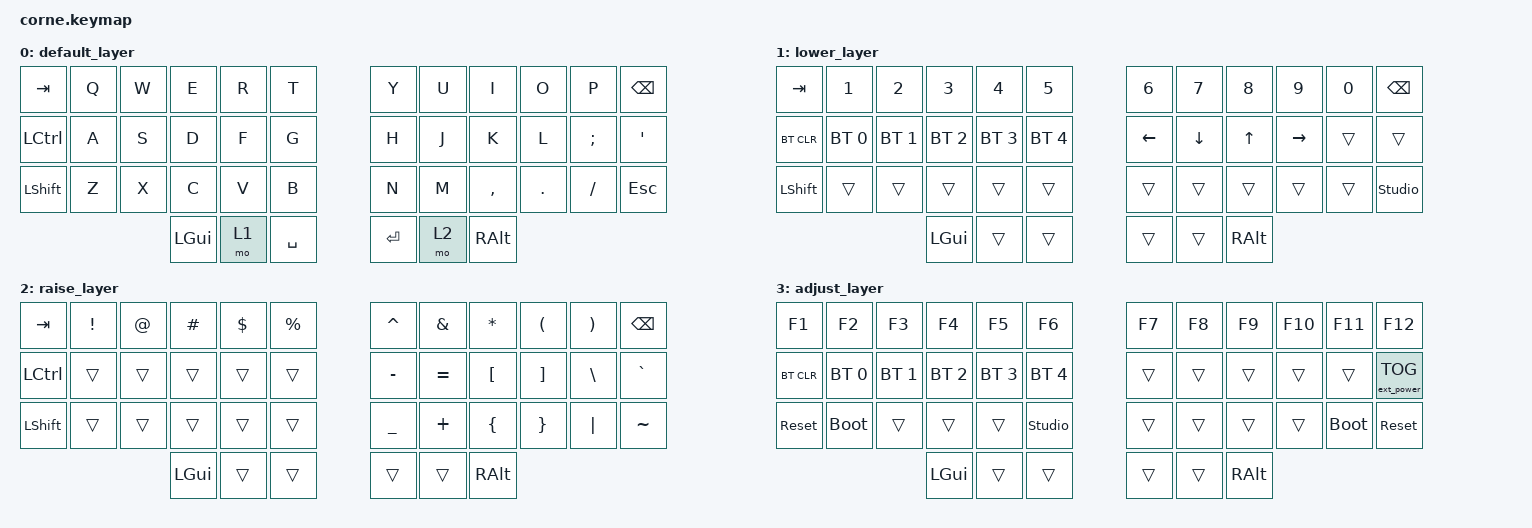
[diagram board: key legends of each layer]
/*
 * Copyright (c) 2020 The ZMK Contributors
 *
 * SPDX-License-Identifier: MIT
 */

#include <behaviors.dtsi>
#include <dt-bindings/zmk/keys.h>
#include <dt-bindings/zmk/bt.h>
#include <dt-bindings/zmk/ext_power.h>

/ {
        conditional_layers {
                compatible = "zmk,conditional-layers";
                tri_layer {
                        if-layers = <1 2>;
                        then-layer = <3>;
                };
        };

        combos {
                compatible = "zmk,combos";
                combo_studio_unlock {
                        timeout-ms = <50>;
                        key-positions = <37 40>; // Touches thumb LWR (37) et RSE (40)
                        bindings = <&studio_unlock>;
                };
        };

        keymap {
                compatible = "zmk,keymap";

                default_layer {
// -----------------------------------------------------------------------------------------
// |  TAB |  Q  |  W  |  E  |  R  |  T  |   |  Y  |  U   |  I  |  O  |  P  | BSPC |
// | CTRL |  A  |  S  |  D  |  F  |  G  |   |  H  |  J   |  K  |  L  |  ;  |  '   |
// | SHFT |  Z  |  X  |  C  |  V  |  B  |   |  N  |  M   |  ,  |  .  |  /  | ESC  |
//                    | GUI | LWR | SPC |   | ENT | RSE  | ALT |
                        bindings = <
   &kp TAB   &kp Q &kp W &kp E &kp R &kp T   &kp Y &kp U  &kp I     &kp O   &kp P    &kp BSPC
   &kp LCTRL &kp A &kp S &kp D &kp F &kp G   &kp H &kp J  &kp K     &kp L   &kp SEMI &kp SQT
   &kp LSHFT &kp Z &kp X &kp C &kp V &kp B   &kp N &kp M  &kp COMMA &kp DOT &kp FSLH &kp ESC
                  &kp LGUI &mo 1 &kp SPACE   &kp RET &mo 2 &kp RALT
                        >;
                };

                lower_layer {
// -----------------------------------------------------------------------------------------
// |  TAB |  1  |  2  |  3  |  4  |  5  |   |  6  |  7  |  8  |  9  |  0  | BSPC |
// | BTCLR| BT1 | BT2 | BT3 | BT4 | BT5 |   | LFT | DWN |  UP | RGT |     |      |
// | SHFT |     |     |     |     |     |   |     |     |     |     |     |UNLOCK|
//                    | GUI |     |     |   |     |     | ALT |
                        bindings = <
   &kp TAB    &kp N1       &kp N2       &kp N3       &kp N4       &kp N5         &kp N6   &kp N7   &kp N8 &kp N9    &kp N0 &kp BSPC
   &bt BT_CLR &bt BT_SEL 0 &bt BT_SEL 1 &bt BT_SEL 2 &bt BT_SEL 3 &bt BT_SEL 4   &kp LEFT &kp DOWN &kp UP &kp RIGHT &trans &trans
   &kp LSHFT  &trans       &trans       &trans       &trans       &trans         &trans   &trans   &trans &trans    &trans &studio_unlock
                                     &kp LGUI     &trans       &trans         &trans   &trans   &kp RALT
                        >;
                };

                raise_layer {
// -----------------------------------------------------------------------------------------
// |  TAB |  !  |  @  |  #  |  $  |  %  |   |  ^  |  &  |  *  |  (  |  )  | BSPC |
// | CTRL |     |     |     |     |     |   |  -  |  =  |  [  |  ]  |  \  |  `   |
// | SHFT |     |     |     |     |     |   |  _  |  +  |  {  |  }  | "|" |  ~   |
//                    | GUI |     |     |   |     |     | ALT |
                        bindings = <
   &kp  TAB  &kp EXCL &kp AT &kp HASH &kp DLLR &kp PRCNT   &kp CARET &kp AMPS  &kp ASTRK &kp LPAR &kp RPAR &kp BSPC
   &kp LCTRL &trans   &trans &trans   &trans   &trans      &kp MINUS &kp EQUAL &kp LBKT  &kp RBKT &kp BSLH &kp GRAVE
   &kp LSHFT &trans   &trans &trans   &trans   &trans      &kp UNDER &kp PLUS  &kp LBRC  &kp RBRC &kp PIPE &kp TILDE
                             &kp LGUI &trans   &trans      &trans    &trans    &kp RALT
                        >;
                };

                adjust_layer {
// -----------------------------------------------------------------------------------------
// |  F1  |  F2 |  F3 |  F4 |  F5 |  F6 |   |  F7 |  F8 |  F9 | F10 | F11 | F12  |
// | BTCLR| BT1 | BT2 | BT3 | BT4 | BT5 |   |     |     |     |     |     |EPTOG |
// | RESET|BOOTL|     |     |     |UNLOCK|  |     |     |     |     |BOOTL| RESET|
//                    | GUI |     |     |   |     |     | ALT |
                        bindings = <
   &kp F1        &kp F2        &kp F3        &kp F4        &kp F5        &kp F6          &kp F7  &kp F8  &kp F9  &kp F10 &kp F11     &kp F12
   &bt BT_CLR    &bt BT_SEL 0  &bt BT_SEL 1  &bt BT_SEL 2  &bt BT_SEL 3  &bt BT_SEL 4    &trans  &trans  &trans  &trans  &trans      &ext_power EP_TOG
   &sys_reset    &bootloader   &trans        &trans        &trans        &studio_unlock  &trans  &trans  &trans  &trans  &bootloader &sys_reset
                                             &kp LGUI      &trans        &trans          &trans  &trans  &kp RALT
                        >;
                };

                extra1 {
                        status = "reserved";
                };

                extra2 {
                        status = "reserved";
                };
        };
};
